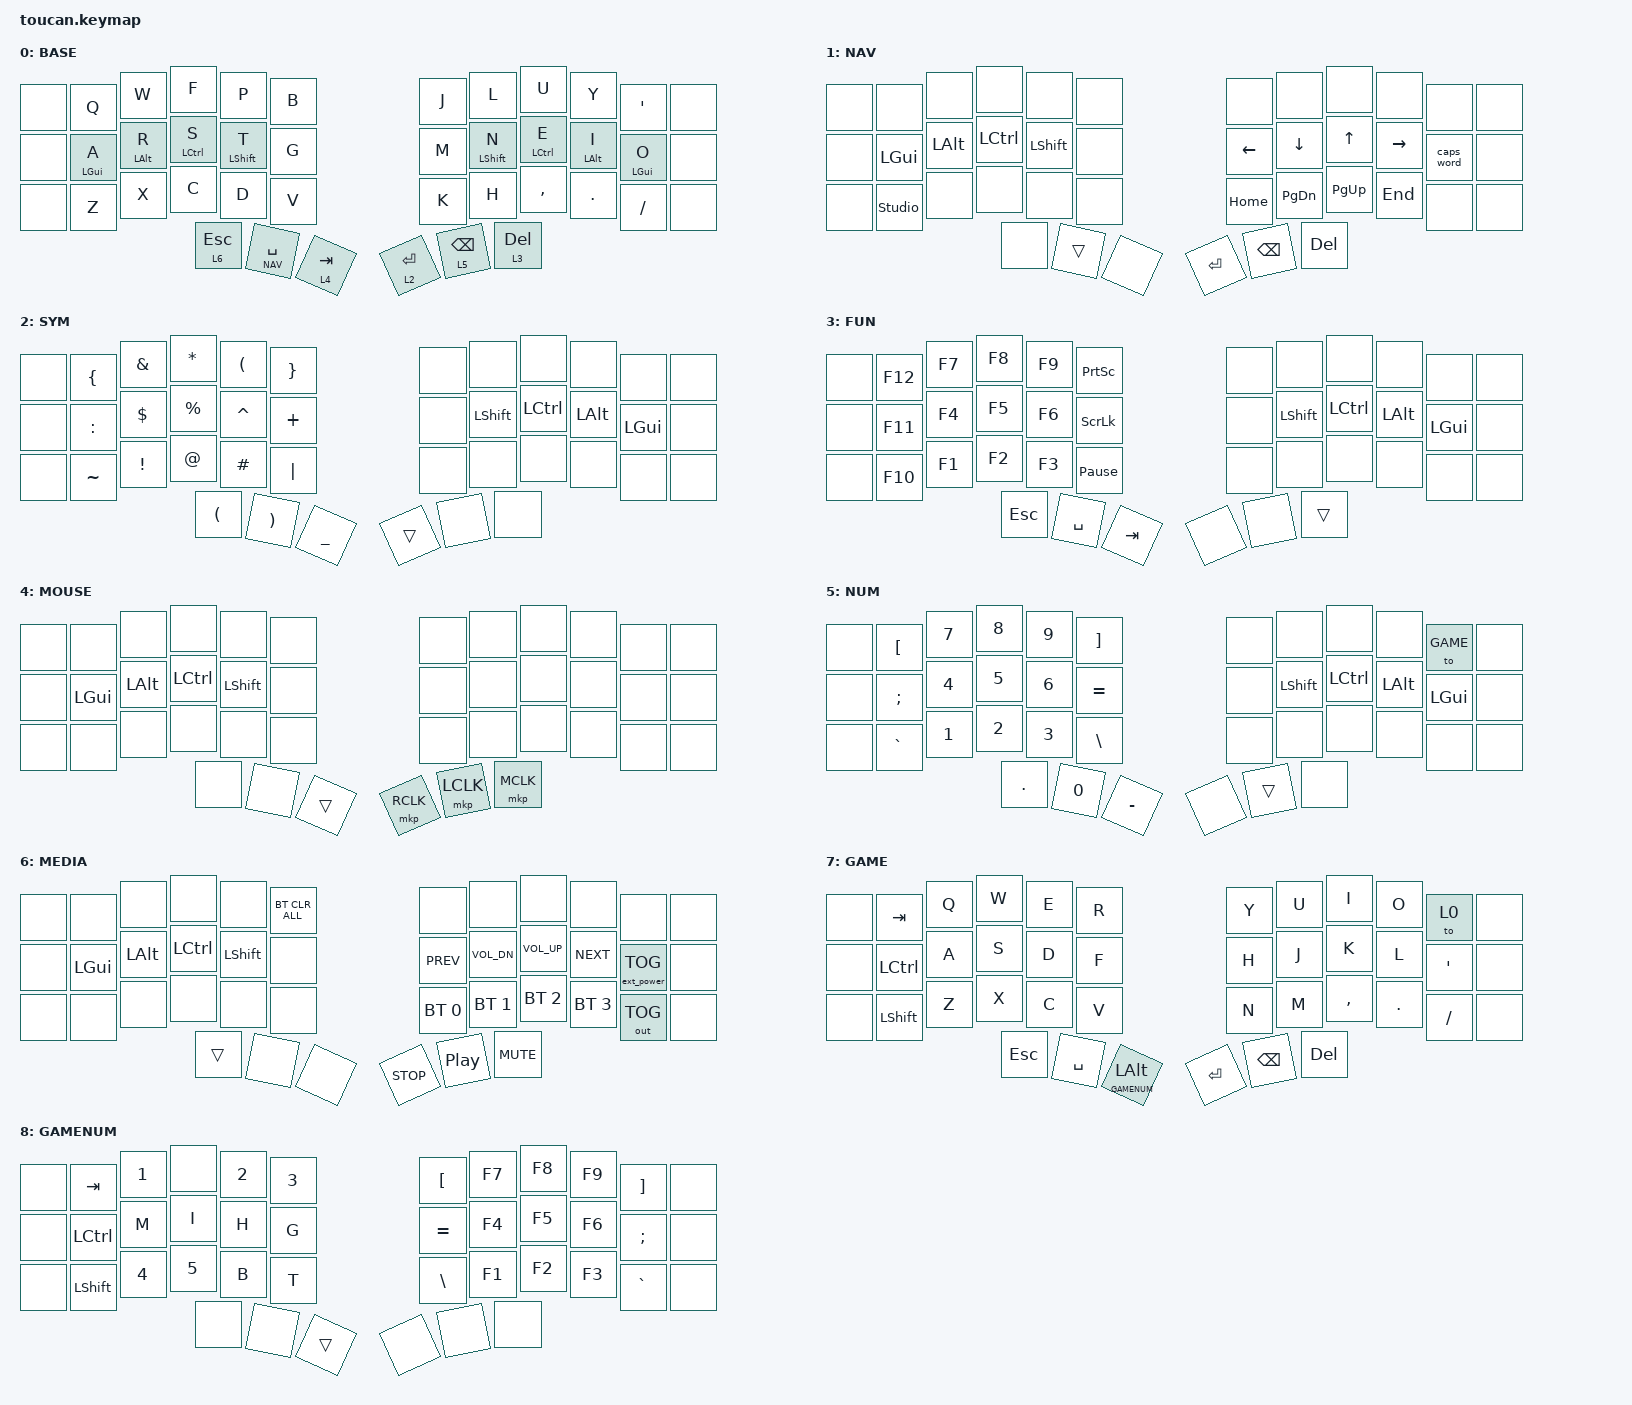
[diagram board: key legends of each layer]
#include <behaviors.dtsi>
#include <dt-bindings/zmk/bt.h>
#include <dt-bindings/zmk/ext_power.h>
#include <dt-bindings/zmk/keys.h>
#include <dt-bindings/zmk/outputs.h>
#include <dt-bindings/zmk/pointing.h>

#define BASE     0
#define NAV      1
#define MOUSE    2
#define MEDIA    3
#define NUM      4
#define SYM      5
#define FUN      6
#define GAME     7
#define GAMENUM  8

&lt { quick-tap-ms = <175>; };

/ {
    behaviors {
        hml: home_row_mod_left {
            compatible = "zmk,behavior-hold-tap";
            #binding-cells = <2>;
            flavor = "balanced";
            require-prior-idle-ms = <150>;
            tapping-term-ms = <255>;
            quick-tap-ms = <175>;
            bindings = <&kp>, <&kp>;

            hold-trigger-on-release;
            hold-trigger-key-positions = <13 14 15 16>;
        };

        hmr: home_row_mod_right {
            compatible = "zmk,behavior-hold-tap";
            #binding-cells = <2>;
            flavor = "balanced";
            require-prior-idle-ms = <150>;
            tapping-term-ms = <255>;
            quick-tap-ms = <175>;
            bindings = <&kp>, <&kp>;

            hold-trigger-on-release;
            hold-trigger-key-positions = <19 20 21 22>;
        };

        tml: thumb_mod_left {
            compatible = "zmk,behavior-hold-tap";
            #binding-cells = <2>;
            flavor = "hold-preferred";
            tapping-term-ms = <200>;
            quick-tap-ms = <175>;
            bindings = <&mo>, <&kp>;
        };

        tmr: thumb_mod_right {
            compatible = "zmk,behavior-hold-tap";
            #binding-cells = <2>;
            flavor = "hold-preferred";
            tapping-term-ms = <200>;
            quick-tap-ms = <175>;
            bindings = <&mo>, <&kp>;
        };
    };

    keymap {
        compatible = "zmk,keymap";

        base_layer {
            display-name = "BASE";
            bindings = <
&none  &kp Q  &kp W  &kp F  &kp P  &kp B  &kp J  &kp L  &kp U  &kp Y  &kp SQT  &none  &none  &hml LGUI A  &hml LEFT_ALT R  &hml LEFT_CONTROL S  &hml LEFT_SHIFT T  &kp G  &kp M  &hmr LEFT_SHIFT N  &hmr LEFT_CONTROL E  &hmr LEFT_ALT I  &hmr LEFT_GUI O  &none  &none  &kp Z  &kp X  &kp C  &kp D  &kp V  &kp K  &kp H  &kp COMMA  &kp DOT  &kp SLASH  &none  &lt 6 ESC  &lt NAV SPACE  &lt 4 TAB  &lt 2 ENTER  &lt 5 BACKSPACE  &lt 3 DELETE
            >;

            label = "BASE";
        };

        nav_layer {
            display-name = "NAV";
            bindings = <
&none  &none  &none  &none  &none  &none  &none  &none  &none  &none  &none  &none  &none  &kp LGUI  &kp LALT  &kp LCTRL  &kp LSHFT  &none  &kp LEFT  &kp DOWN  &kp UP  &kp RIGHT  &caps_word  &none  &none  &studio_unlock  &none  &none  &none  &none  &kp HOME  &kp PG_DN  &kp PG_UP  &kp END  &none  &none  &none  &trans  &none  &kp RET  &kp BSPC  &kp DEL
            >;

            label = "NAV";
        };

        sym_layer {
            display-name = "SYM";
            bindings = <
&none  &kp LBRC  &kp AMPS  &kp ASTRK  &kp LPAR  &kp RBRC  &none  &none  &none  &none  &none  &none  &none  &kp COLON  &kp DLLR  &kp PRCNT  &kp CARET  &kp PLUS  &none  &kp LSHFT  &kp LCTRL  &kp LALT  &kp LGUI  &none  &none  &kp TILDE  &kp EXCL  &kp AT  &kp HASH  &kp PIPE  &none  &none  &none  &none  &none  &none  &kp LPAR  &kp RPAR  &kp UNDER  &trans  &none  &none
            >;

            label = "SYM";
        };

        fun_layer {
            display-name = "FUN";
            bindings = <
&none  &kp F12  &kp F7  &kp F8  &kp F9  &kp PSCRN  &none  &none  &none  &none  &none  &none  &none  &kp F11  &kp F4  &kp F5  &kp F6  &kp SLCK  &none  &kp LSHFT  &kp LCTRL  &kp LALT  &kp LGUI  &none  &none  &kp F10  &kp F1  &kp F2  &kp F3  &kp PAUSE_BREAK  &none  &none  &none  &none  &none  &none  &kp ESC  &kp SPACE  &kp TAB  &none  &none  &trans
            >;

            label = "FUN";
        };

        mouse_layer {
            display-name = "MOUSE";
            bindings = <
&none  &none  &none  &none  &none  &none  &none  &none  &none  &none  &none  &none  &none  &kp LGUI  &kp LALT  &kp LCTRL  &kp LSHFT  &none  &none  &none  &none  &none  &none  &none  &none  &none  &none  &none  &none  &none  &none  &none  &none  &none  &none  &none  &none  &none  &trans  &mkp RCLK  &mkp LCLK  &mkp MCLK
            >;

            label = "MOUSE";
        };

        num_layer {
            display-name = "NUM";
            bindings = <
&none  &kp LBKT  &kp N7  &kp N8  &kp N9  &kp RBKT  &none  &none  &none  &none  &to GAME  &none  &none  &kp SEMI  &kp N4  &kp N5  &kp N6  &kp EQUAL  &none  &kp LSHFT  &kp LCTRL  &kp LALT  &kp LGUI  &none  &none  &kp GRAVE  &kp N1  &kp N2  &kp N3  &kp BSLH  &none  &none  &none  &none  &none  &none  &kp DOT  &kp N0  &kp MINUS  &none  &trans  &none
            >;

            label = "NUM";
        };

        media_layer {
            display-name = "MEDIA";
            bindings = <
&none  &none  &none  &none  &none  &bt BT_CLR_ALL  &none  &none  &none  &none  &none  &none  &none  &kp LGUI  &kp LALT  &kp LCTRL  &kp LSHFT  &none  &kp C_PREV  &kp C_VOL_DN  &kp C_VOL_UP  &kp C_NEXT  &ext_power EP_TOG  &none  &none  &none  &none  &none  &none  &none  &bt BT_SEL 0  &bt BT_SEL 1  &bt BT_SEL 2  &bt BT_SEL 3  &out OUT_TOG  &none  &trans  &none  &none  &kp C_STOP  &kp C_PP  &kp C_MUTE
            >;

            label = "MEDIA";
        };

        game_layer {
            display-name = "GAME";
            bindings = <
&none  &kp TAB  &kp Q  &kp W  &kp E  &kp R  &kp Y  &kp U  &kp I  &kp O  &to 0  &none  &none  &kp LCTRL  &kp A  &kp S  &kp D  &kp F  &kp H  &kp J  &kp K  &kp L  &kp SQT  &none  &none  &kp LSHFT  &kp Z  &kp X  &kp C  &kp V  &kp N  &kp M  &kp COMMA  &kp DOT  &kp SLASH  &none  &kp ESC  &kp SPACE  &tml GAMENUM LEFT_ALT  &kp RET  &kp BSPC  &kp DEL
            >;

            label = "GAME";
        };

        gamenum_layer {
            display-name = "GAMENUM";
            bindings = <
&none  &kp TAB  &kp N1  &none  &kp N2  &kp N3  &kp LBKT  &kp F7  &kp F8  &kp F9  &kp RBKT  &none  &none  &kp LCTRL  &kp M  &kp I  &kp H  &kp G  &kp EQUAL  &kp F4  &kp F5  &kp F6  &kp SEMI  &none  &none  &kp LSHFT  &kp N4  &kp N5  &kp B  &kp T  &kp BSLH  &kp F1  &kp F2  &kp F3  &kp GRAVE  &none  &none  &none  &trans  &none  &none  &none
            >;

            label = "GAMENUM";
        };
    };
};
